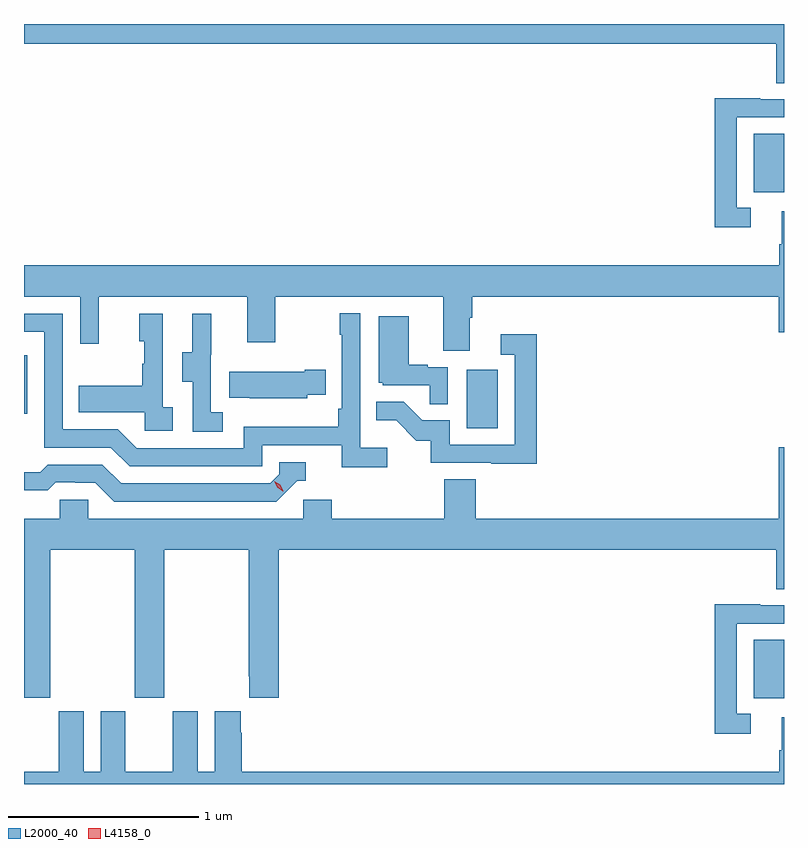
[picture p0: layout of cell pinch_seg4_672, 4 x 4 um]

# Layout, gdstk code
import gdstk
lib = gdstk.Library(unit=1e-6, precision=1e-09)
def R(c, l, rs):  # rectangles x0, y0, x1, y1
    for r in rs: c.add(gdstk.rectangle(r[:2], r[2:], *l))
def P(c, l, *ps):  # polygons
    for p in ps: c.add(gdstk.Polygon(p, *l))
L2000_40 = (2000, 40)
L4158_0 = (4158, 0)

pinch_seg4_672 = lib.new_cell('pinch_seg4_672')
R(pinch_seg4_672, L2000_40, [(1141.898,753.414,1142.057,753.721), (1140.386,754.836,1140.55,755.143), (1138.057,754.911,1138.074,755.22), (1141.898,756.078,1142.057,756.385)])
P(pinch_seg4_672, L2000_40, [(1142.057,756.963),(1138.057,756.963),(1138.057,756.86),(1142.015,756.86),(1142.015,756.652),(1142.057,756.652)],
  [(1141.882,755.997),(1141.809,755.997),(1141.809,756.471),(1142.057,756.471),(1142.057,756.567),(1141.931,756.567),(1141.931,756.572),(1141.693,756.572),(1141.693,755.892),(1141.882,755.892)],
  [(1140.403,755.416),(1140.416,755.416),(1140.416,755.528),(1142.03,755.528),(1142.03,755.34),(1142.057,755.34),(1142.057,755.978),(1142.045,755.978),(1142.045,755.804),(1142.033,755.804),(1142.033,755.692),(1138.057,755.692),(1138.057,755.528),(1138.353,755.528),(1138.353,755.28),(1138.451,755.28),(1138.451,755.528),(1139.231,755.528),(1139.231,755.289),(1139.379,755.289),(1139.379,755.528),(1140.263,755.528),(1140.263,755.242),(1140.403,755.242)],
  [(1139.968,754.732),(1139.826,754.732),(1139.826,755.44),(1139.718,755.44),(1139.718,755.327),(1139.73,755.327),(1139.73,754.939),(1139.71,754.939),(1139.71,754.843),(1139.214,754.843),(1139.214,754.731),(1138.65,754.731),(1138.551,754.83),(1138.26,754.83),(1138.26,755.439),(1138.057,755.439),(1138.057,755.343),(1138.164,755.343),(1138.164,754.734),(1138.514,754.734),(1138.613,754.635),(1139.31,754.635),(1139.31,754.746),(1139.729,754.746),(1139.729,754.63),(1139.968,754.63)],
  [(1139.104,754.919),(1139.04,754.919),(1139.04,755.223),(1139.042,755.223),(1139.042,755.437),(1138.943,755.437),(1138.943,755.235),(1138.889,755.235),(1138.889,755.08),(1138.944,755.08),(1138.944,754.816),(1139.104,754.816)],
  [(1138.84,754.946),(1138.788,754.946),(1138.788,755.437),(1138.664,755.437),(1138.664,755.292),(1138.69,755.292),(1138.69,755.174),(1138.68,755.174),(1138.68,755.059),(1138.345,755.059),(1138.345,754.919),(1138.692,754.919),(1138.692,754.821),(1138.84,754.821)],
  [(1140.288,755.157),(1140.182,755.157),(1140.182,755.17),(1140.082,755.17),(1140.082,755.425),(1139.924,755.425),(1139.924,755.076),(1139.946,755.076),(1139.946,755.061),(1140.193,755.061),(1140.193,754.963),(1140.288,754.963)],
  [(1140.755,755.329),(1140.567,755.329),(1140.567,755.223),(1140.639,755.223),(1140.639,754.749),(1140.297,754.749),(1140.297,754.878),(1140.153,754.878),(1140.055,754.976),(1139.911,754.976),(1139.911,754.877),(1140.015,754.877),(1140.122,754.77),(1140.199,754.77),(1140.199,754.653),(1140.517,754.653),(1140.517,754.648),(1140.755,754.648)],
  [(1139.547,755.012),(1139.645,755.012),(1139.645,755.142),(1139.534,755.142),(1139.534,755.134),(1139.137,755.134),(1139.137,754.997),(1139.245,754.997),(1139.245,754.994),(1139.547,754.994)],
  [(1138.194,754.196),(1138.639,754.196),(1138.639,753.417),(1138.794,753.417),(1138.794,754.196),(1139.239,754.196),(1139.239,753.529),(1139.243,753.529),(1139.243,753.417),(1139.399,753.417),(1139.399,754.196),(1142.015,754.196),(1142.015,753.988),(1142.057,753.988),(1142.057,754.735),(1142.03,754.735),(1142.03,754.36),(1140.434,754.36),(1140.434,754.568),(1140.269,754.568),(1140.269,754.36),(1139.678,754.36),(1139.678,754.458),(1139.526,754.458),(1139.526,754.36),(1138.395,754.36),(1138.395,754.458),(1138.245,754.458),(1138.245,754.36),(1138.057,754.36),(1138.057,753.417),(1138.194,753.417)],
  [(1139.496,754.56),(1139.539,754.56),(1139.539,754.656),(1139.4,754.656),(1139.4,754.593),(1139.352,754.545),(1138.569,754.545),(1138.47,754.644),(1138.181,754.644),(1138.142,754.605),(1138.057,754.605),(1138.057,754.509),(1138.181,754.509),(1138.223,754.551),(1138.326,754.551),(1138.326,754.548),(1138.433,754.548),(1138.532,754.449),(1139.385,754.449)],
  [(1141.882,753.333),(1141.809,753.333),(1141.809,753.807),(1142.057,753.807),(1142.057,753.903),(1141.931,753.903),(1141.931,753.908),(1141.693,753.908),(1141.693,753.228),(1141.882,753.228)],
  [(1142.057,753.314),(1142.045,753.314),(1142.045,753.14),(1142.033,753.14),(1142.033,753.028),(1139.204,753.028),(1139.204,753.233),(1139.197,753.233),(1139.197,753.346),(1139.06,753.346),(1139.06,753.028),(1138.972,753.028),(1138.972,753.346),(1138.841,753.346),(1138.841,753.028),(1138.591,753.028),(1138.591,753.346),(1138.46,753.346),(1138.46,753.028),(1138.372,753.028),(1138.372,753.346),(1138.241,753.346),(1138.241,753.028),(1138.057,753.028),(1138.057,752.963),(1142.057,752.963)])
P(pinch_seg4_672, L4158_0, [(1139.42,754.505),(1139.39,754.524),(1139.374,754.557),(1139.374,754.557),(1139.375,754.557),(1139.405,754.538),(1139.421,754.505),(1139.421,754.505)])

lib.write_gds('pinch_seg4_672.gds')
